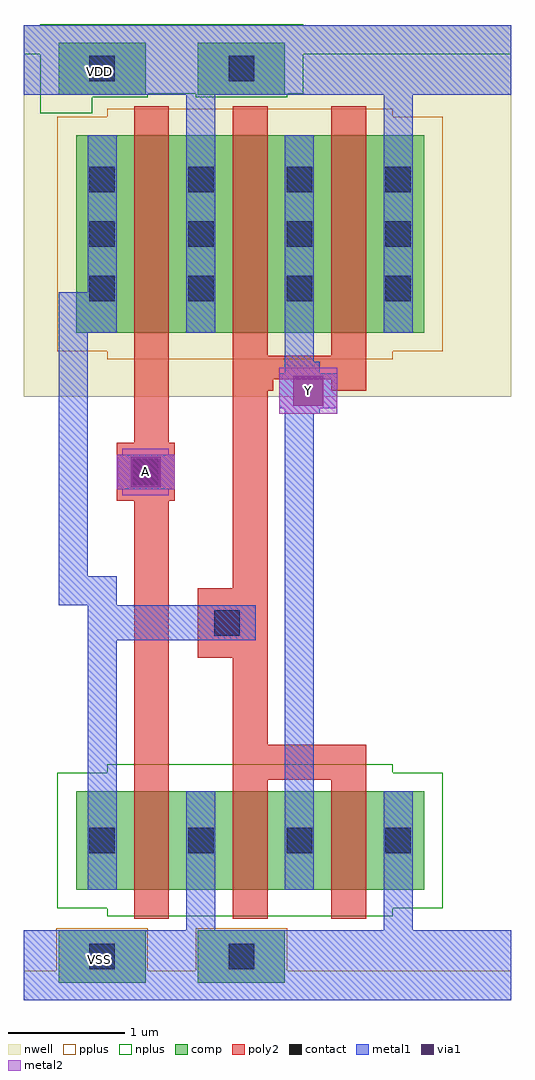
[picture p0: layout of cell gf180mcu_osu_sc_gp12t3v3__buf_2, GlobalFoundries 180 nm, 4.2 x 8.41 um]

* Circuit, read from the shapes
.subckt gf180mcu_osu_sc_gp12t3v3__buf_2 A VDD VSS Y
XM1 VSS A n1 VSS nfet_03v3 w=0.85u l=0.3u
XM2 Y n1 VSS VSS nfet_03v3 w=0.85u l=0.3u m=2
XM3 VDD A n1 VDD pfet_03v3 w=1.7u l=0.3u
XM4 Y n1 VDD VDD pfet_03v3 w=1.7u l=0.3u m=2
.ends

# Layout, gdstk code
import gdstk
lib = gdstk.Library(unit=1e-6, precision=1e-09)
def R(c, l, rs):  # rectangles x0, y0, x1, y1
    for r in rs: c.add(gdstk.rectangle(r[:2], r[2:], *l))
def A(c, l, x, y, w, h, nx, ny, dx, dy):  # array of equal rectangles
    R(c, l, [(x+i*dx, y+j*dy, x+i*dx+w, y+j*dy+h) for i in range(nx) for j in range(ny)])
nwell = (21, 0)
comp = (22, 0)
poly2 = (30, 0)
pplus = (31, 0)
nplus = (32, 0)
contact = (33, 0)
metal1 = (34, 0)
via1 = (35, 0)
metal2 = (36, 0)

gf180mcu_osu_sc_gp12t3v3 = lib.new_cell('gf180mcu_osu_sc_gp12t3v3__buf_2')
R(gf180mcu_osu_sc_gp12t3v3, nwell, [(0,5.2,4.2,8.4)])
R(gf180mcu_osu_sc_gp12t3v3, comp, [(0.3,0.15,1.05,0.6), (1.5,0.15,2.25,0.6), (0.45,0.95,3.45,1.8), (0.45,5.75,3.45,7.45), (0.3,7.8,1.05,8.25), (1.5,7.8,2.25,8.25)])
R(gf180mcu_osu_sc_gp12t3v3, poly2, [(0.95,0.7,1.25,4.3), (1.8,0.7,2.1,1.9), (2.65,0.7,2.95,1.9), (1.8,1.9,2.95,2.2), (1.8,2.2,2.1,2.95), (1.5,2.95,2.1,3.55), (1.8,3.55,2.1,5.25), (0.8,4.3,1.3,4.8), (0.95,4.8,1.25,7.7), (1.8,5.25,2.15,5.35), (2.65,5.25,2.95,5.35), (1.8,5.35,2.95,5.55), (1.8,5.55,2.1,7.7), (2.65,5.55,2.95,7.7)])
R(gf180mcu_osu_sc_gp12t3v3, pplus, [(0,0,4.2,0.25), (0.28,0.13,1.07,0.62), (1.48,0.13,2.27,0.62), (0.72,5.52,3.18,5.59), (0.29,5.59,3.61,7.61), (0.72,7.61,3.18,7.68)])
R(gf180mcu_osu_sc_gp12t3v3, nplus, [(0.72,0.72,3.18,0.79), (0.29,0.79,3.61,1.96), (0.72,1.96,3.18,2.03), (0.14,7.64,0.59,7.78), (0.14,7.78,1.07,7.81), (1.48,7.78,2.27,7.81), (0.14,7.81,2.41,8.15), (0,8.15,4.2,8.4), (0,8.15,4.2,8.4), (0.14,8.4,2.41,8.41)])
A(gf180mcu_osu_sc_gp12t3v3, contact, 0.565, 1.265, 0.22, 0.22, 4, 2, 0.85, 4.755)
A(gf180mcu_osu_sc_gp12t3v3, contact, 0.565, 6.49, 0.22, 0.22, 4, 2, 0.85, 0.47)
R(gf180mcu_osu_sc_gp12t3v3, contact, [(0.565,0.265,0.785,0.485), (1.765,0.265,1.985,0.485), (1.64,3.14,1.86,3.36), (0.94,4.44,1.16,4.66), (0.565,7.915,0.785,8.135), (1.765,7.915,1.985,8.135)])
R(gf180mcu_osu_sc_gp12t3v3, metal1, [(0,0,4.2,0.6), (1.4,0.6,1.65,1.8), (3.1,0.6,3.35,1.8), (0.55,0.95,0.8,3.1), (2.25,0.95,2.5,5.05), (0.55,3.1,2,3.4), (0.3,3.4,0.8,3.65), (0.3,3.65,0.55,5.75), (0.8,4.4,1.3,4.7), (2.25,5.05,2.55,5.1), (2.2,5.1,2.7,5.4), (2.25,5.4,2.55,5.5), (2.25,5.5,2.5,7.45), (0.3,5.75,0.8,6.1), (1.4,5.75,1.65,7.8), (3.1,5.75,3.35,7.8), (0.55,6.1,0.8,7.45), (0,7.8,4.2,8.4)])
R(gf180mcu_osu_sc_gp12t3v3, via1, [(0.92,4.42,1.18,4.68), (2.32,5.12,2.58,5.38)])
R(gf180mcu_osu_sc_gp12t3v3, metal2, [(0.85,4.35,1.25,4.4), (0.8,4.4,1.3,4.7), (0.85,4.7,1.25,4.75), (2.2,5.05,2.7,5.45)])
gf180mcu_osu_sc_gp12t3v3.add(gdstk.Label('A', (1.05,4.55), layer=36, texttype=10))
gf180mcu_osu_sc_gp12t3v3.add(gdstk.Label('Y', (2.45,5.25), layer=36, texttype=10))
gf180mcu_osu_sc_gp12t3v3.add(gdstk.Label('VDD', (0.65,8), layer=34, texttype=10))
gf180mcu_osu_sc_gp12t3v3.add(gdstk.Label('VSS', (0.65,0.35), layer=34, texttype=10))

lib.write_gds('gf180mcu_osu_sc_gp12t3v3__buf_2.gds')
